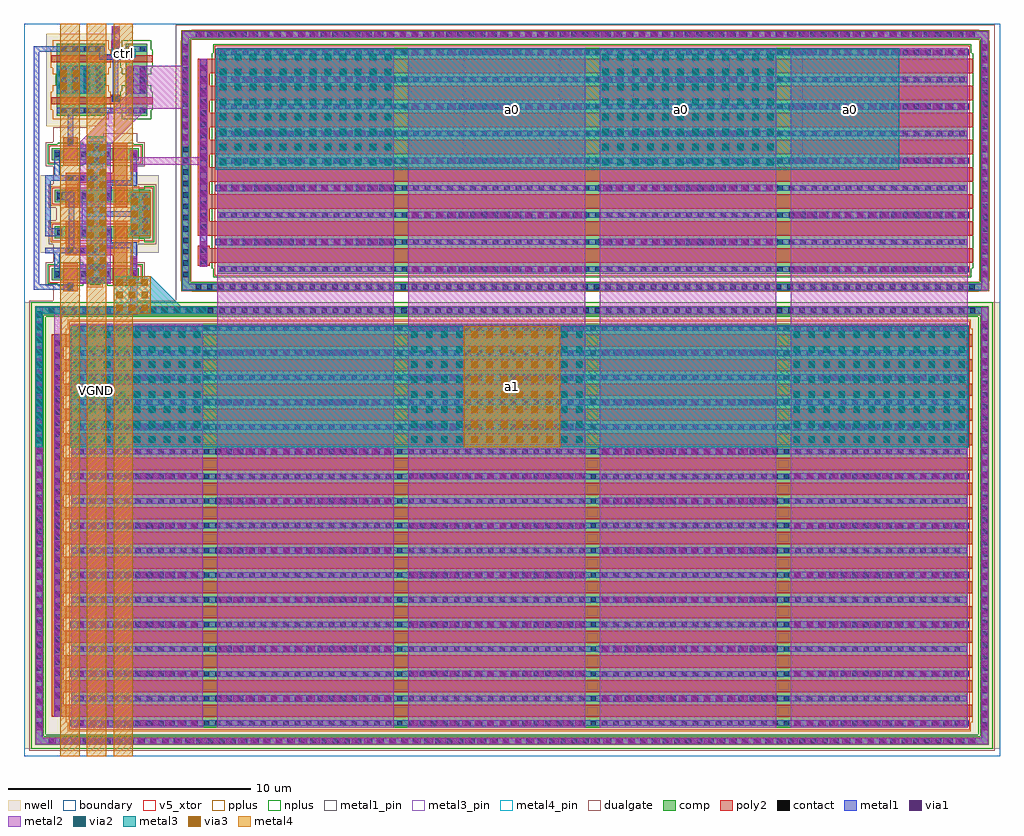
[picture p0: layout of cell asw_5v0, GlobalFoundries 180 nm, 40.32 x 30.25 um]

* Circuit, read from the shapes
.subckt asw_5v0 VAPWR VDPWR VGND a0 a1 ctrl
XM1 VGND n1 n2 VGND nfet_05v0 w=0.5u l=0.6u
XM2 VGND n3 n4 VGND nfet_05v0 w=0.5u l=0.6u
XM3 lv2hv_2/out_n n2 VGND VGND nfet_05v0 w=0.5u l=0.6u
XM4 lv2hv_2/out_p n4 VGND VGND nfet_05v0 w=0.5u l=0.6u
XM5 VGND n1 n3 VGND nfet_03v3 w=0.89u l=0.28u
XM6 n1 ctrl VGND VGND nfet_03v3 w=0.89u l=0.28u
XM7 a0 lv2hv_2/out_p a1 VGND nfet_05v0 w=31u l=0.6u m=8
XM8 VDPWR n1 n3 VDPWR pfet_03v3 w=2u l=0.28u
XM9 n1 ctrl VDPWR VDPWR pfet_03v3 w=2u l=0.28u
XM10 VAPWR n2 n4 VAPWR pfet_05v0 w=0.5u l=0.5u
XM11 VAPWR n4 n2 VAPWR pfet_05v0 w=0.5u l=0.5u
XM12 a0 lv2hv_2/out_n a1 VAPWR pfet_05v0 w=37u l=0.5u m=16
XM13 lv2hv_2/out_n n2 VAPWR VAPWR pfet_05v0 w=0.5u l=0.5u m=2
XM14 lv2hv_2/out_p n4 VAPWR VAPWR pfet_05v0 w=0.5u l=0.5u m=2
.ends

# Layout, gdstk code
from math import pi, radians
import gdstk
lib = gdstk.Library(unit=1e-6, precision=1e-09)
def R(c, l, rs):  # rectangles x0, y0, x1, y1
    for r in rs: c.add(gdstk.rectangle(r[:2], r[2:], *l))
def A(c, l, x, y, w, h, nx, ny, dx, dy):  # array of equal rectangles
    R(c, l, [(x+i*dx, y+j*dy, x+i*dx+w, y+j*dy+h) for i in range(nx) for j in range(ny)])
def P(c, l, *ps):  # polygons
    for p in ps: c.add(gdstk.Polygon(p, *l))
boundary = (0, 0)
nwell = (21, 0)
comp = (22, 0)
poly2 = (30, 0)
pplus = (31, 0)
nplus = (32, 0)
contact = (33, 0)
metal1 = (34, 0)
metal1_pin = (34, 10)
via1 = (35, 0)
metal2 = (36, 0)
via2 = (38, 0)
via3 = (40, 0)
metal3 = (42, 0)
metal3_pin = (42, 10)
metal4 = (46, 0)
metal4_pin = (46, 10)
dualgate = (55, 0)
v5_xtor = (112, 1)

tg_pmos = lib.new_cell('tg_pmos')
R(tg_pmos, boundary, [(0,0,39.4,18.12)])
R(tg_pmos, nwell, [(-0.16,-0.16,39.56,18.28)])
R(tg_pmos, comp, [(0,0,39.4,0.36), (0,0.36,0.36,17.76), (39.04,0.36,39.4,17.76), (1.5,0.72,38.5,17.4), (0,17.76,39.4,18.12)])
A(tg_pmos, poly2, 0.69, 1.16, 38.03, 0.5, 1, 16, 0, 1.02)
A(tg_pmos, poly2, 0.69, 1.66, 0.5, 0.52, 1, 15, 0, 1.02)
R(tg_pmos, pplus, [(1.34,0.56,38.66,0.93), (1.27,0.93,38.73,17.19), (1.34,17.19,38.66,17.56)])
R(tg_pmos, nplus, [(-0.16,-0.16,39.56,0.43), (-0.16,0.43,0.43,17.69), (38.97,0.43,39.56,17.69), (-0.16,17.69,39.56,18.28)])
A(tg_pmos, contact, 0.555, 0.07, 0.22, 0.22, 82, 2, 0.47, 17.76)
A(tg_pmos, contact, 0.07, 0.725, 0.22, 0.22, 1, 36, 0, 0.47)
A(tg_pmos, contact, 39.11, 0.725, 0.22, 0.22, 1, 36, 0, 0.47)
A(tg_pmos, contact, 1.795, 0.79, 0.22, 0.22, 78, 17, 0.47, 1.02)
A(tg_pmos, contact, 0.83, 1.43, 0.22, 0.22, 1, 33, 0, 0.47)
A(tg_pmos, metal1, 1.51, 0.785, 36.98, 0.23, 1, 17, 0, 1.02)
R(tg_pmos, metal1, [(0.065,0.065,39.335,0.295), (0.065,0.295,0.295,17.825), (39.105,0.295,39.335,17.825), (0.825,1.17,1.055,16.95), (0.065,17.825,39.335,18.055)])
R(tg_pmos, dualgate, [(-0.24,-0.24,39.64,18.36)])
R(tg_pmos, v5_xtor, [(1.4,0.62,38.6,17.5)])

tg_nmos = lib.new_cell('tg_nmos')
R(tg_nmos, boundary, [(0,0,33.35,10.76)])
R(tg_nmos, comp, [(0,0,33.35,0.36), (0,0.36,0.36,10.4), (32.99,0.36,33.35,10.4), (1.47,0.72,32.47,10.04), (0,10.4,33.35,10.76)])
A(tg_nmos, poly2, 0.66, 1.16, 32.03, 0.6, 1, 8, 0, 1.12)
A(tg_nmos, poly2, 0.66, 2.88, 0.5, 0.52, 1, 6, 0, 1.12)
R(tg_nmos, poly2, [(0.66,1.045,1.16,1.16), (0.66,1.76,1.16,1.875)])
R(tg_nmos, pplus, [(0.415,-0.03,32.935,-0.02), (-0.02,-0.02,33.37,0.39), (-0.02,0.39,0.39,0.415), (32.96,0.39,33.37,0.415), (-0.03,0.415,0.39,10.345), (32.96,0.415,33.38,10.345), (-0.02,10.345,0.39,10.37), (32.96,10.345,33.37,10.37), (-0.02,10.37,33.37,10.78), (0.415,10.78,32.935,10.79)])
R(tg_nmos, nplus, [(1.31,0.56,32.63,0.93), (1.24,0.93,32.7,9.83), (1.31,9.83,32.63,10.2)])
A(tg_nmos, contact, 0.585, 0.07, 0.22, 0.22, 69, 2, 0.47, 10.4)
A(tg_nmos, contact, 0.07, 0.57, 0.22, 0.22, 1, 21, 0, 0.47)
A(tg_nmos, contact, 33.06, 0.57, 0.22, 0.22, 1, 21, 0, 0.47)
A(tg_nmos, contact, 1.585, 0.79, 0.22, 0.22, 66, 9, 0.47, 1.12)
A(tg_nmos, contact, 0.8, 2.54, 0.22, 0.22, 1, 15, 0, 0.47)
R(tg_nmos, contact, [(0.8,1.115,1.02,1.335), (0.8,1.585,1.02,1.805)])
A(tg_nmos, metal1, 1.48, 0.785, 30.98, 0.23, 1, 8, 0, 1.12)
R(tg_nmos, metal1, [(0.065,0.065,33.285,0.295), (0.065,0.295,0.295,10.465), (33.055,0.295,33.285,10.465), (0.795,1.055,1.025,1.865), (0.795,2.29,1.025,9.59), (1.49,9.745,32.45,9.975), (0.065,10.465,33.285,10.695)])
R(tg_nmos, dualgate, [(-0.24,-0.24,33.59,11)])
R(tg_nmos, v5_xtor, [(1.37,0.62,32.57,10.14)])

lv2hv_dual_inv = lib.new_cell('lv2hv_dual_inv')
R(lv2hv_dual_inv, boundary, [(0,0,3.82,4.4)])
R(lv2hv_dual_inv, nwell, [(0,0,3.82,2.86)])
R(lv2hv_dual_inv, comp, [(0.43,0.43,3.39,2.43), (0.43,3.29,3.39,4.18)])
R(lv2hv_dual_inv, poly2, [(0.9,0.21,1.18,2.69), (2.64,0.21,2.92,2.69), (0.9,2.69,1.3,3.05), (2.64,2.69,3.52,3.05), (0.9,3.05,1.18,4.4), (2.64,3.05,2.92,4.4)])
R(lv2hv_dual_inv, pplus, [(0.67,0.2,1.41,0.27), (2.41,0.2,3.15,0.27), (0.27,0.27,1.675,2.59), (2.145,0.27,3.55,2.59), (0.67,2.59,1.41,2.66), (2.41,2.59,3.15,2.66), (1.675,3.27,2.145,4.2)])
R(lv2hv_dual_inv, nplus, [(1.7,0.4,2.12,0.41), (1.675,0.41,2.145,2.45), (1.7,2.45,2.12,2.46), (0.67,3.06,1.41,3.13), (2.41,3.06,3.15,3.13), (0.27,3.13,1.675,4.34), (2.145,3.13,3.55,4.34), (0.67,4.34,1.41,4.41), (2.41,4.34,3.15,4.41)])
A(lv2hv_dual_inv, contact, 0.53, 0.615, 0.22, 0.22, 1, 4, 0, 0.47)
A(lv2hv_dual_inv, contact, 1.33, 0.615, 0.22, 0.22, 3, 4, 0.47, 0.47)
A(lv2hv_dual_inv, contact, 3.07, 0.615, 0.22, 0.22, 1, 4, 0, 0.47)
A(lv2hv_dual_inv, contact, 1.33, 3.39, 0.22, 0.22, 3, 2, 0.47, 0.47)
R(lv2hv_dual_inv, contact, [(1.01,2.76,1.23,2.98), (3.23,2.76,3.45,2.98), (0.53,3.39,0.75,3.61), (3.07,3.39,3.29,3.61), (0.53,3.86,0.75,4.08), (3.07,3.86,3.29,4.08)])
R(lv2hv_dual_inv, metal1, [(0.525,0.44,0.755,4.14), (1.325,0.44,2.495,2.42), (3.065,0.44,3.295,2.19), (2.745,2.19,3.295,2.42), (2.745,2.42,2.975,2.755), (1.005,2.7,1.235,2.755), (3.225,2.7,3.455,3.04), (1.005,2.755,2.975,2.985), (1.005,2.985,1.235,3.04), (2.745,2.985,2.975,3.33), (1.325,3.33,2.495,4.14), (2.745,3.33,3.295,3.56), (3.065,3.56,3.295,4.14)])

lv2hv_core = lib.new_cell('lv2hv_core')
R(lv2hv_core, boundary, [(0,0,6.37,4.9)])
R(lv2hv_core, nwell, [(1.585,0,4.785,4.9)])
R(lv2hv_core, comp, [(0.46,0.48,0.96,2.07), (5.41,0.48,5.91,2.07), (2.185,0.6,2.685,4.125), (3.685,0.6,4.185,4.125), (0.265,2.07,1.155,2.49), (5.215,2.07,6.105,2.49), (0.46,2.49,0.96,4.08), (5.41,2.49,5.91,4.08), (2.185,4.125,4.185,4.55)])
R(lv2hv_core, poly2, [(0,0.95,1.18,1.55), (5.19,0.95,6.37,1.55), (1.485,1.07,2.905,1.57), (3.465,1.07,4.885,1.57), (1.485,1.57,1.885,2.09), (4.485,1.57,4.885,2.09), (1.485,2.09,2.905,2.59), (3.465,2.09,4.885,2.59), (1.485,2.59,1.885,3.01), (4.485,2.59,4.885,3.01), (0.24,3.01,1.885,3.11), (4.485,3.01,6.13,3.11), (0.24,3.11,2.905,3.61), (3.465,3.11,6.13,3.61)])
R(lv2hv_core, pplus, [(2.025,0.44,2.845,0.84), (3.525,0.44,4.345,0.84), (1.955,0.84,2.915,3.84), (3.455,0.84,4.415,3.84), (0.245,2.05,1.175,2.51), (5.195,2.05,6.125,2.51), (2.025,3.84,2.845,4.105), (3.525,3.84,4.345,4.105)])
R(lv2hv_core, nplus, [(0.3,0.32,1.12,0.72), (5.25,0.32,6.07,0.72), (0.23,0.72,1.19,1.78), (5.18,0.72,6.14,1.78), (0.3,1.78,1.12,2.05), (5.25,1.78,6.07,2.05), (0.3,2.51,1.12,2.78), (5.25,2.51,6.07,2.78), (0.23,2.78,1.19,3.84), (5.18,2.78,6.14,3.84), (0.3,3.84,1.12,4.24), (5.25,3.84,6.07,4.24), (2.165,4.105,4.205,4.31), (2.025,4.31,4.345,4.71)])
A(lv2hv_core, contact, 2.325, 0.7, 0.22, 0.22, 1, 4, 0, 1.02)
A(lv2hv_core, contact, 3.825, 0.7, 0.22, 0.22, 1, 4, 0, 1.02)
A(lv2hv_core, contact, 1.575, 1.14, 0.22, 0.22, 1, 3, 0, 0.47)
A(lv2hv_core, contact, 4.575, 1.14, 0.22, 0.22, 1, 3, 0, 0.47)
A(lv2hv_core, contact, 2.37, 4.23, 0.22, 0.22, 4, 1, 0.47, 0)
R(lv2hv_core, contact, [(0.6,0.58,0.82,0.8), (5.55,0.58,5.77,0.8), (0.07,1.14,0.29,1.36), (6.08,1.14,6.3,1.36), (0.6,1.7,0.82,1.92), (5.55,1.7,5.77,1.92), (0.365,2.17,0.585,2.39), (0.835,2.17,1.055,2.39), (5.315,2.17,5.535,2.39), (5.785,2.17,6.005,2.39), (0.6,2.64,0.82,2.86), (5.55,2.64,5.77,2.86), (0.6,3.76,0.82,3.98), (5.55,3.76,5.77,3.98)])
R(lv2hv_core, metal1, [(1.57,0.215,1.8,0.575), (2.265,0.215,4.8,0.445), (2.265,0.445,2.605,0.925), (4.57,0.445,4.8,0.575), (0.54,0.575,1.8,0.805), (4.57,0.575,5.83,0.805), (3.765,0.695,4.105,1.175), (1.57,0.805,1.8,1.175), (4.57,0.805,4.8,2.36), (0.01,1.135,0.35,1.365), (6.02,1.135,6.36,1.365), (1.57,1.175,4.105,1.405), (1.57,1.405,1.8,2.36), (0.305,1.635,1.115,2.925), (5.255,1.635,6.065,2.925), (2.265,1.715,4.105,1.945), (3.07,1.945,3.3,3.755), (1.785,2.735,2.605,2.965), (3.765,2.735,4.585,2.965), (1.785,2.965,2.015,3.755), (4.355,2.965,4.585,3.755), (0.54,3.755,2.015,3.985), (2.265,3.755,4.105,4.455), (4.355,3.755,5.83,3.985)])
R(lv2hv_core, dualgate, [(0.22,0.24,1.2,0.55), (5.17,0.24,6.15,0.55), (1.945,0.36,2.925,0.55), (3.445,0.36,4.425,0.55), (-0.4,0.55,2.925,0.67), (3.445,0.55,6.77,0.67), (-0.4,0.67,6.77,1.95), (0.025,1.95,6.345,2.61), (-0.16,2.61,6.53,4.01), (0.22,4.01,1.2,4.32), (1.945,4.01,4.425,4.79), (5.17,4.01,6.15,4.32)])
R(lv2hv_core, v5_xtor, [(0.36,0.38,1.06,1.97), (5.31,0.38,6.01,1.97), (2.085,0.5,2.785,4.025), (3.585,0.5,4.285,4.025), (0.165,1.97,1.255,2.59), (5.115,1.97,6.205,2.59), (0.36,2.59,1.06,4.18), (5.31,2.59,6.01,4.18), (2.085,4.025,4.285,4.65)])

lv2hv = lib.new_cell('lv2hv')
R(lv2hv, boundary, [(0,0,11.045,5.165)])
R(lv2hv, metal1, [(0.465,0,10.52,0.23), (0.465,0.23,0.695,1.4), (10.29,0.23,10.52,0.955), (8.55,0.955,9.72,2.935), (6.76,1.4,7.75,1.63), (0.705,1.9,1.515,3.19), (5.655,1.9,6.465,3.19), (10.45,3.215,10.68,3.555), (8.55,3.845,9.72,4.655), (0.94,4.02,2.415,4.25), (2.665,4.02,4.505,4.72), (4.755,4.02,6.23,4.25)])
R(lv2hv, metal1_pin, [(8.55,0.955,9.72,2.935), (0.705,1.9,1.515,3.19), (5.655,1.9,6.465,3.19), (10.45,3.215,10.68,3.555), (8.55,3.845,9.72,4.655), (0.94,4.02,2.415,4.25), (2.665,4.02,4.505,4.72), (4.755,4.02,6.23,4.25)])
lv2hv.add(gdstk.Reference(lv2hv_dual_inv, (7.225,0.515)))
lv2hv.add(gdstk.Reference(lv2hv_core, (0.4,0.265)))
lv2hv.add(gdstk.Label('VGND', (9.135,4.25), layer=34, texttype=10))
lv2hv.add(gdstk.Label('VGND', (6.06,2.545), layer=34, texttype=10))
lv2hv.add(gdstk.Label('VGND', (1.11,2.545), layer=34, texttype=10))
lv2hv.add(gdstk.Label('VDPWR', (9.135,1.945), layer=34, texttype=10))
lv2hv.add(gdstk.Label('VAPWR', (3.585,4.37), layer=34, texttype=10))
lv2hv.add(gdstk.Label('in', (10.565,3.385), layer=34, texttype=10))
lv2hv.add(gdstk.Label('out_p', (5.492,4.135), layer=34, texttype=10))
lv2hv.add(gdstk.Label('out_n', (1.677,4.135), layer=34, texttype=10))

asw_5v0 = lib.new_cell('asw_5v0')
R(asw_5v0, boundary, [(0,0,40.32,30.25)])
R(asw_5v0, nwell, [(0,0.3,0.3,18.74), (40.02,0.3,40.32,18.74)])
A(asw_5v0, metal1, 1.91, 1.23, 5.52, 0.26, 1, 9, 0, 2.04)
A(asw_5v0, metal1, 15.83, 1.23, 7.4, 0.26, 1, 9, 0, 2.04)
A(asw_5v0, metal1, 31.63, 1.23, 7.4, 0.26, 1, 9, 0, 2.04)
A(asw_5v0, metal1, 7.93, 2.25, 7.4, 0.26, 1, 8, 0, 2.04)
A(asw_5v0, metal1, 23.73, 2.25, 7.4, 0.26, 1, 8, 0, 2.04)
A(asw_5v0, metal1, 15.83, 19.985, 7.4, 0.26, 1, 5, 0, 2.24)
A(asw_5v0, metal1, 31.63, 19.985, 7.4, 0.26, 1, 5, 0, 2.24)
A(asw_5v0, metal1, 7.93, 21.105, 7.4, 0.26, 1, 4, 0, 2.24)
A(asw_5v0, metal1, 23.73, 21.105, 7.4, 0.26, 1, 4, 0, 2.24)
R(asw_5v0, metal1, [(0.495,0.495,39.825,0.755), (0.495,0.755,0.755,18.285), (39.565,0.755,39.825,18.285), (1.27,1.63,1.53,17.41), (0.495,18.285,39.825,18.545), (6.545,19.25,39.825,19.51), (6.545,19.51,6.805,29.68), (39.565,19.51,39.825,29.68), (2.36,19.52,3.53,20.31), (4.405,19.745,4.665,20.645), (7.29,20.225,7.55,28.805), (4.42,21.47,5.23,23.31), (4.405,24.135,4.665,25.035), (2.36,24.47,3.53,25.26), (1.365,27.415,3.325,28.465), (4.255,27.415,5.045,28.465), (3.615,29.25,3.955,30.15), (6.545,29.68,39.825,29.94)])
A(asw_5v0, via1, 1.05, 0.495, 0.26, 0.26, 74, 1, 0.52, 0)
A(asw_5v0, via1, 0.495, 1.07, 0.26, 0.26, 1, 33, 0, 0.52)
A(asw_5v0, via1, 39.565, 1.07, 0.26, 0.26, 1, 33, 0, 0.52)
A(asw_5v0, via1, 2.2, 1.23, 0.26, 0.26, 10, 9, 0.52, 2.04)
A(asw_5v0, via1, 16.02, 1.23, 0.26, 0.26, 14, 9, 0.52, 2.04)
A(asw_5v0, via1, 31.82, 1.23, 0.26, 0.26, 14, 9, 0.52, 2.04)
A(asw_5v0, via1, 1.27, 1.85, 0.26, 0.26, 1, 30, 0, 0.52)
A(asw_5v0, via1, 8.12, 2.25, 0.26, 0.26, 14, 8, 0.52, 2.04)
A(asw_5v0, via1, 23.92, 2.25, 0.26, 0.26, 14, 8, 0.52, 2.04)
A(asw_5v0, via1, 5.16, 18.285, 0.26, 0.26, 5, 1, 0.52, 0)
A(asw_5v0, via1, 39.565, 19.785, 0.26, 0.26, 1, 19, 0, 0.52)
A(asw_5v0, via1, 16.02, 19.985, 0.26, 0.26, 14, 5, 0.52, 2.24)
A(asw_5v0, via1, 31.82, 19.985, 0.26, 0.26, 14, 5, 0.52, 2.24)
A(asw_5v0, via1, 7.29, 20.485, 0.26, 0.26, 1, 16, 0, 0.52)
A(asw_5v0, via1, 8.12, 21.105, 0.26, 0.26, 14, 4, 0.52, 2.24)
A(asw_5v0, via1, 23.92, 21.105, 0.26, 0.26, 14, 4, 0.52, 2.24)
A(asw_5v0, via1, 4.435, 21.74, 0.26, 0.26, 1, 3, 0, 0.52)
A(asw_5v0, via1, 4.955, 21.74, 0.26, 0.26, 1, 3, 0, 0.52)
A(asw_5v0, via1, 6.545, 25.43, 0.26, 0.26, 1, 8, 0, 0.52)
A(asw_5v0, via1, 1.435, 27.55, 0.26, 0.26, 4, 2, 0.52, 0.52)
A(asw_5v0, via1, 7.195, 29.68, 0.26, 0.26, 62, 1, 0.52, 0)
R(asw_5v0, via1, [(2.555,19.525,2.815,19.785), (3.075,19.525,3.335,19.785), (4.405,19.805,4.665,20.065), (2.555,20.045,2.815,20.305), (3.075,20.045,3.335,20.305), (4.405,20.325,4.665,20.585), (4.405,24.195,4.665,24.455), (2.555,24.475,2.815,24.735), (3.075,24.475,3.335,24.735), (4.405,24.715,4.665,24.975), (2.555,24.995,2.815,25.255), (3.075,24.995,3.335,25.255), (4.26,27.55,4.52,27.81), (4.78,27.55,5.04,27.81), (4.26,28.07,4.52,28.33), (4.78,28.07,5.04,28.33), (3.655,29.31,3.915,29.57), (3.655,29.83,3.915,30.09)])
A(asw_5v0, metal2, 7.98, 1.17, 7.3, 28.095, 4, 1, 7.9, 0)
R(asw_5v0, metal2, [(0.485,0.485,39.835,0.765), (0.485,0.765,0.765,18.545), (39.555,0.765,39.835,18.545), (1.96,1.17,7.38,17.87), (1.25,1.63,1.55,18.25), (1.25,18.25,4.685,18.55), (5.085,18.275,7.58,18.555), (4.385,18.55,4.685,20.645), (39.555,19.25,39.835,29.67), (2.3,19.51,3.59,25.295), (7.27,20.225,7.57,24.435), (4.42,21.47,5.23,23.31), (4.385,24.135,4.685,24.435), (4.385,24.435,7.57,24.735), (4.385,24.735,4.685,25.035), (7.27,24.735,7.57,28.805), (6.535,25.235,6.815,26.735), (2.3,25.295,3.615,25.37), (2.48,25.37,3.615,25.55), (3.59,25.55,3.615,26.66), (3.59,26.66,4.98,26.735), (4.245,26.735,6.815,28.525), (1.355,27.355,3.335,28.525), (6.535,28.525,6.815,29.67), (3.615,28.875,4.615,29.215), (3.615,29.215,3.955,30.15), (6.535,29.67,39.835,29.95)])
P(asw_5v0, metal2, [(3.665,26.735),(4.245,26.735),(4.245,27.315)],
  [(4.98,26.66),(4.98,26.735),(5.055,26.735)],
  [(2.48,25.55),(3.59,25.55),(3.59,26.66)],
  [(2.3,25.37),(2.48,25.37),(2.48,25.55)],
  [(3.615,25.295),(3.615,26.66),(4.98,26.66)],
  [(3.59,25.27),(3.59,25.295),(3.615,25.295)])
A(asw_5v0, via2, 0.495, 12.915, 0.26, 0.26, 1, 11, 0, 0.52)
A(asw_5v0, via2, 2.06, 12.95, 0.26, 0.26, 9, 8, 0.62, 0.62)
A(asw_5v0, via2, 15.99, 12.95, 0.26, 0.26, 12, 8, 0.62, 0.62)
A(asw_5v0, via2, 31.79, 12.95, 0.26, 0.26, 12, 8, 0.62, 0.62)
A(asw_5v0, via2, 5.16, 18.285, 0.26, 0.26, 5, 1, 0.52, 0)
A(asw_5v0, via2, 2.61, 19.825, 0.26, 0.26, 1, 11, 0, 0.52)
A(asw_5v0, via2, 3.13, 19.825, 0.26, 0.26, 1, 11, 0, 0.52)
A(asw_5v0, via2, 4.435, 21.74, 0.26, 0.26, 1, 3, 0, 0.52)
A(asw_5v0, via2, 4.955, 21.74, 0.26, 0.26, 1, 3, 0, 0.52)
A(asw_5v0, via2, 8.09, 24.415, 0.26, 0.26, 12, 8, 0.62, 0.62)
A(asw_5v0, via2, 23.89, 24.415, 0.26, 0.26, 12, 8, 0.62, 0.62)
A(asw_5v0, via2, 1.435, 27.55, 0.26, 0.26, 4, 2, 0.52, 0.52)
R(asw_5v0, via2, [(3.725,28.915,3.985,29.175), (4.245,28.915,4.505,29.175)])
A(asw_5v0, via3, 18.48, 12.95, 0.26, 0.26, 6, 8, 0.62, 0.62)
A(asw_5v0, via3, 3.815, 18.395, 0.26, 0.26, 3, 3, 0.52, 0.52)
A(asw_5v0, via3, 2.61, 19.825, 0.26, 0.26, 1, 11, 0, 0.52)
A(asw_5v0, via3, 3.13, 19.825, 0.26, 0.26, 1, 11, 0, 0.52)
A(asw_5v0, via3, 4.435, 21.74, 0.26, 0.26, 1, 3, 0, 0.52)
A(asw_5v0, via3, 4.955, 21.74, 0.26, 0.26, 1, 3, 0, 0.52)
R(asw_5v0, via3, [(1.51,27.55,1.77,27.81), (2.03,27.55,2.29,27.81), (1.51,28.07,1.77,28.33), (2.03,28.07,2.29,28.33)])
R(asw_5v0, metal3, [(0.485,12.75,0.765,18.275), (1.91,12.75,39.03,17.75), (0.485,18.275,7.58,18.555), (3.7,18.555,5.23,19.815), (2.6,19.51,3.4,25.6), (4.42,21.47,5.23,23.31), (7.93,24.215,36.16,29.215), (1.355,27.355,3.335,28.525), (3.615,28.875,4.615,29.215)])
P(asw_5v0, metal3, [(5.23,19.815),(5.23,18.555),(6.49,18.555)])
A(asw_5v0, metal3_pin, 18.16, 24.215, 4, 5, 3, 1, 7, 0)
R(asw_5v0, metal3_pin, [(3.615,28.875,4.615,29.215)])
R(asw_5v0, metal4, [(1.5,0,2.3,30.25), (2.6,0,3.4,30.25), (3.7,0,4.5,18.275), (18.16,12.75,22.16,17.75), (3.7,18.275,5.23,19.815), (3.7,19.815,4.5,21.47), (3.7,21.47,5.23,23.31), (3.7,23.31,4.5,30.25)])
A(asw_5v0, metal4_pin, 1.5, 0, 0.8, 30.25, 3, 1, 1.1, 0)
R(asw_5v0, metal4_pin, [(18.16,12.75,22.16,17.75)])
R(asw_5v0, dualgate, [(2.615,18.82,4.675,19.045), (6.27,18.82,40.1,18.975), (2.615,19.045,3.275,19.23)])
asw_5v0.add(gdstk.Reference(tg_pmos, (0.46,0.46)))
asw_5v0.add(gdstk.Reference(tg_nmos, (6.51,19.215)))
asw_5v0.add(gdstk.Reference(lv2hv, (0.4,18.805), rotation=pi/2, x_reflection=True))
asw_5v0.add(gdstk.Label('VGND', (3,15.125), layer=46, texttype=10))
asw_5v0.add(gdstk.Label('VDPWR', (1.9,15.125), layer=46, texttype=10))
asw_5v0.add(gdstk.Label('VAPWR', (4.1,15.125), layer=46, texttype=10))
asw_5v0.add(gdstk.Label('ctrl', (4.115,29.045), layer=42, texttype=10))
asw_5v0.add(gdstk.Label('a0', (34.16,26.715), layer=42, texttype=10))
asw_5v0.add(gdstk.Label('a0', (27.16,26.715), layer=42, texttype=10))
asw_5v0.add(gdstk.Label('a0', (20.16,26.715), layer=42, texttype=10))
asw_5v0.add(gdstk.Label('a1', (20.16,15.25), layer=46, texttype=10))

lib.write_gds('asw_5v0.gds')
